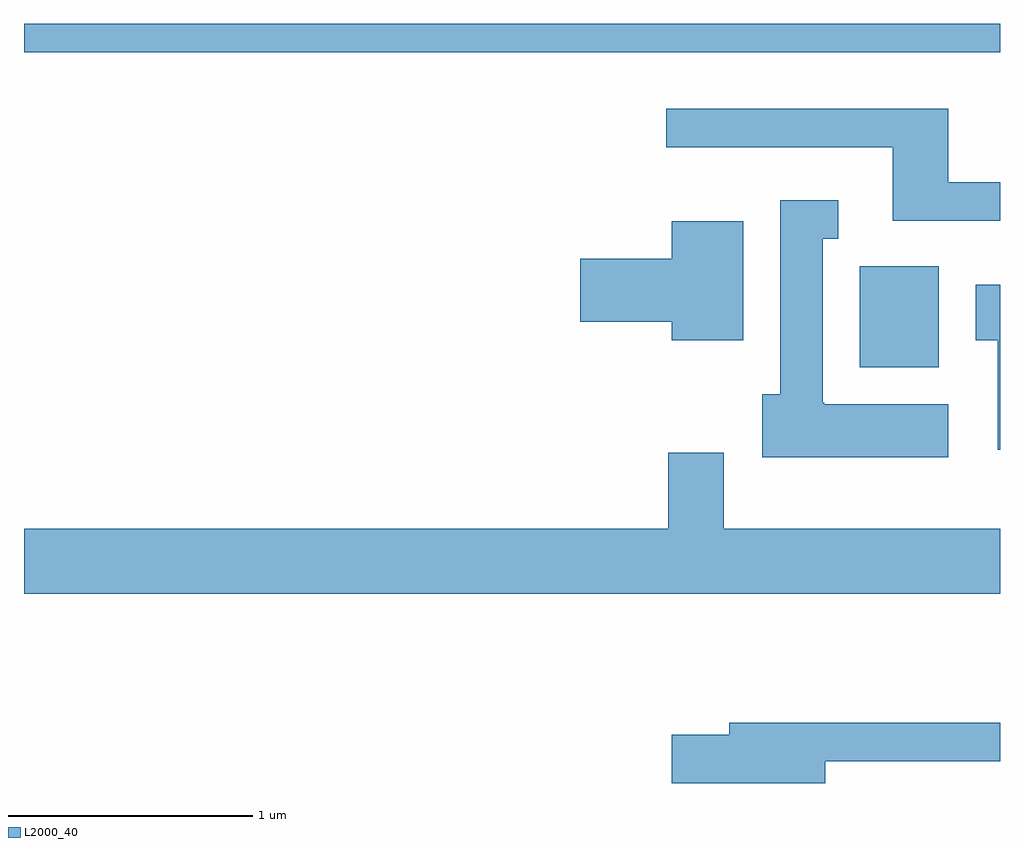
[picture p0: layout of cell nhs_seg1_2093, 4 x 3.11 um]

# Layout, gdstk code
import gdstk
lib = gdstk.Library(unit=1e-6, precision=1e-09)
def R(c, l, rs):  # rectangles x0, y0, x1, y1
    for r in rs: c.add(gdstk.rectangle(r[:2], r[2:], *l))
def P(c, l, *ps):  # polygons
    for p in ps: c.add(gdstk.Polygon(p, *l))
L2000_40 = (2000, 40)

nhs_seg1_2093 = lib.new_cell('nhs_seg1_2093')
R(nhs_seg1_2093, L2000_40, [(253.036,878.306,253.359,878.719), (249.611,879.596,253.611,879.712)])
P(nhs_seg1_2093, L2000_40, [(253.611,879.064),(253.399,879.064),(253.399,879.364),(252.243,879.364),(252.243,879.206),(253.171,879.206),(253.171,878.906),(253.611,878.906)],
  [(253.399,878.154),(252.89,878.154),(252.89,878.16),(252.884,878.16),(252.884,878.831),(252.948,878.831),(252.948,878.989),(252.711,878.989),(252.711,878.194),(252.636,878.194),(252.636,877.936),(253.399,877.936)],
  [(252.559,878.904),(252.266,878.904),(252.266,878.749),(251.891,878.749),(251.891,878.491),(252.266,878.491),(252.266,878.416),(252.559,878.416)],
  [(253.611,878.644),(253.511,878.644),(253.511,878.416),(253.601,878.416),(253.601,877.966),(253.611,877.966)],
  [(253.611,877.644),(252.479,877.644),(252.479,877.954),(252.251,877.954),(252.251,877.644),(249.611,877.644),(249.611,877.376),(253.611,877.376)],
  [(252.894,876.691),(253.611,876.691),(253.611,876.849),(252.501,876.849),(252.501,876.799),(252.266,876.799),(252.266,876.601),(252.894,876.601)])

lib.write_gds('nhs_seg1_2093.gds')
